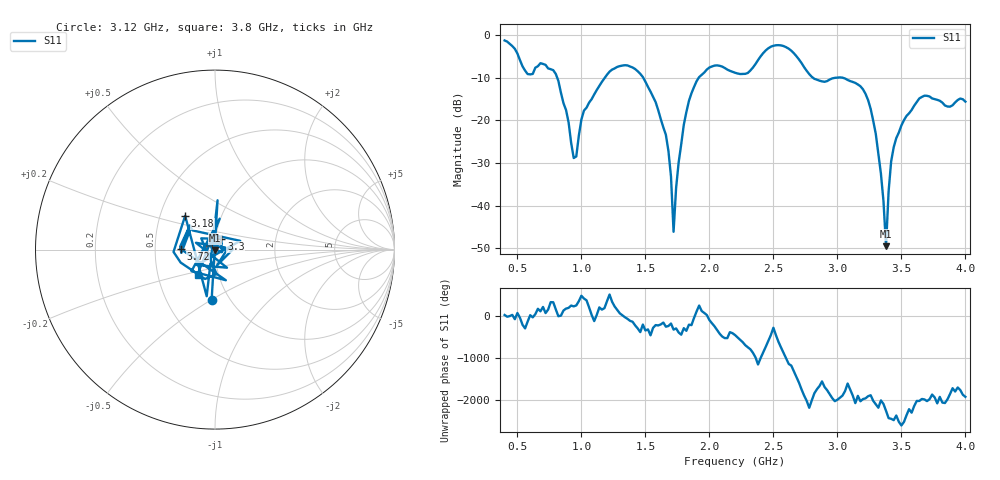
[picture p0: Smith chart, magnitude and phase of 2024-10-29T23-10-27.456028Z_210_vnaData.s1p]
!Created with skrf (http://scikit-rf.org).
# Hz S RI R 50.0
!freq ReS11 ImS11
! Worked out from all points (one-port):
!   181 points, 400 MHz to 4 GHz, reference 50 ohm
!   lowest |S11| = -49.5 dB at 3.38 GHz (marker M1), VSWR 1.01, Z = 50 - j0.333 ohm
!   |S11| at or under -10 dB: 811.1 MHz to 1.183 GHz (371.5 MHz wide, 37.3 % of centre); 1.483 GHz to 1.917 GHz (433.2 MHz wide, 25.5 % of centre); 3.043 GHz to end of sweep (the widest 3 of 4)
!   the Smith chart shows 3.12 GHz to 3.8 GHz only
!   S11 on the Smith chart (normalised r, x): 3.12 GHz: 0.82, -0.50; 3.18 GHz: 0.67, +0.27; 3.3 GHz: 1.07, +0.13; 3.72 GHz: 0.68, +0.00; 3.8 GHz: 0.79, -0.23
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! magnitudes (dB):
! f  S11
! 400 MHz  -1.2
! 580 MHz  -9.1
! 780 MHz  -8.2
! 860 MHz  -16.0
! 960 MHz  -28.5
! 1.02 GHz  -17.7
! 1.3 GHz  -7.3
! 1.58 GHz  -15.7
! 1.68 GHz  -27.2
! 1.7 GHz  -33.2
! 1.72 GHz  -46.1
! 1.76 GHz  -29.8
! 1.84 GHz  -15.4
! 1.92 GHz  -9.8
! 2.2 GHz  -8.8
! 2.66 GHz  -4.2
! 2.82 GHz  -10.2
! 3.1 GHz  -10.8
! 3.12 GHz  -11.0
! 3.18 GHz  -12.0
! 3.3 GHz  -23.2
! 3.36 GHz  -38.9
! 3.38 GHz  -49.5
! 3.42 GHz  -29.6
! 3.56 GHz  -18.3
! 3.72 GHz  -14.4
! 3.8 GHz  -15.4
! 4 GHz  -15.6
